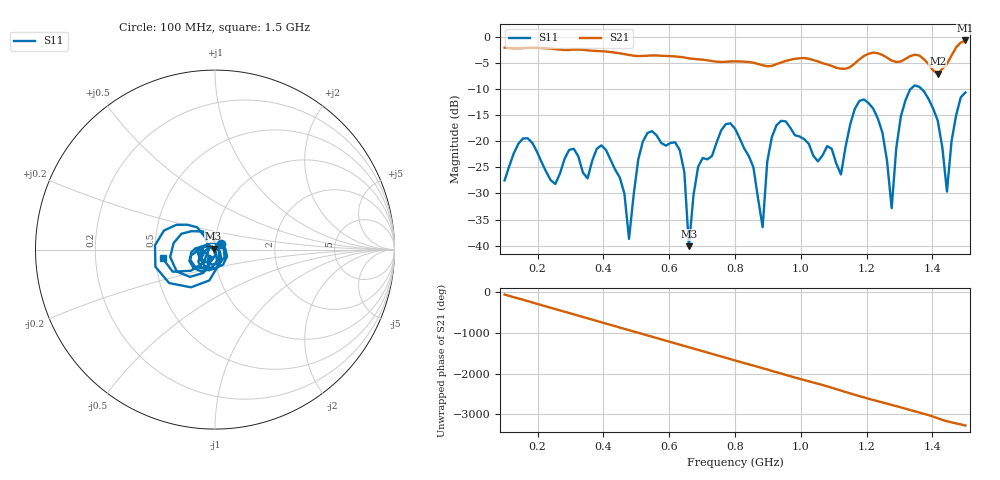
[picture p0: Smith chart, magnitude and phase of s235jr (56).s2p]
! NanoVNA-App
! Date: 2025-09-25 15:04:36
! Start: 100MHz Stop: 1,5GHz Points: 101
! S-Parameter data: F S11 S21 S12 S22
# Hz S RI R 50
!  Frequency  S11_Real  S11_Imag  S21_Real  S21_Imag  S12_Real  S12_Imag  S22_Real  S22_Imag
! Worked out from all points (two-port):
!   101 points, 100 MHz to 1.5 GHz, reference 50 ohm
!   highest |S21| = -0.58 dB at 1.5 GHz (marker M1); lowest = -7.0 dB at 1.416 GHz (marker M2)
!   |S21| within 3 dB of the highest: start of sweep to 596.8 MHz; 1.191 GHz to 1.254 GHz (62.23 MHz wide, 5.09 % of centre) (the widest 2 of 4)
!   lowest |S11| = -40.1 dB at 660 MHz (marker M3), VSWR 1.02, Z = 49.2 + j0.592 ohm
!   |S11| at or under -10 dB: start of sweep to 1.332 GHz; 1.368 GHz to end of sweep
!   S12 and S22 are empty: the file has one direction only
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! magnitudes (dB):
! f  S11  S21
! 100 MHz  -27.5  -2.0
! 156 MHz  -19.4  -2.0
! 338 MHz  -26.0  -2.4
! 408 MHz  -21.6  -2.7
! 478 MHz  -38.7  -3.4
! 520 MHz  -20.0  -3.6
! 576 MHz  -20.3  -3.5
! 632 MHz  -21.6  -3.7
! 660 MHz  -40.1  -4.0
! 688 MHz  -24.9  -4.2
! 800 MHz  -17.5  -4.6
! 884 MHz  -36.5  -5.3
! 926 MHz  -16.9  -5.1
! 1.038 GHz  -22.7  -4.3
! 1.122 GHz  -26.3  -6.0
! 1.192 GHz  -11.9  -3.6
! 1.248 GHz  -18.3  -3.4
! 1.276 GHz  -32.8  -4.5
! 1.332 GHz  -10.0  -3.6
! 1.416 GHz  -16.0  -7.0
! 1.444 GHz  -29.6  -5.1
! 1.5 GHz  -10.6  -0.6
